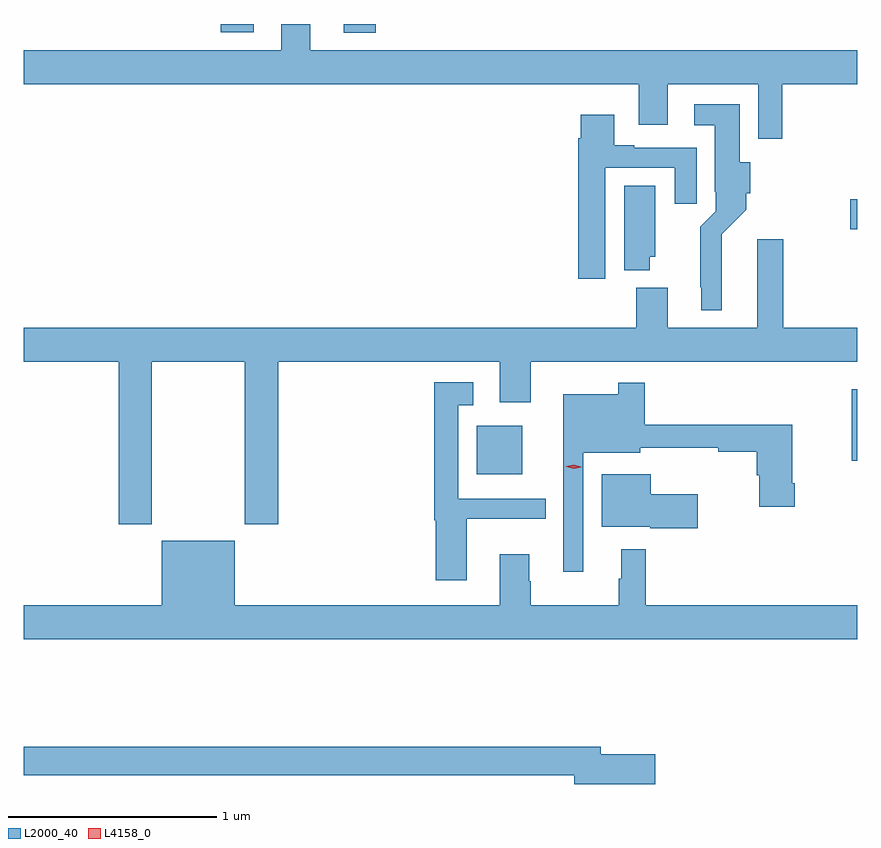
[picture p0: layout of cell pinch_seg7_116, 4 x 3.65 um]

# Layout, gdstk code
import gdstk
lib = gdstk.Library(unit=1e-6, precision=1e-09)
def R(c, l, rs):  # rectangles x0, y0, x1, y1
    for r in rs: c.add(gdstk.rectangle(r[:2], r[2:], *l))
def P(c, l, *ps):  # polygons
    for p in ps: c.add(gdstk.Polygon(p, *l))
L2000_40 = (2000, 40)
L4158_0 = (4158, 0)

pinch_seg7_116 = lib.new_cell('pinch_seg7_116')
R(pinch_seg7_116, L2000_40, [(881.936,1006.736,882.154,1006.969), (883.736,1006.802,883.762,1007.146), (883.728,1007.914,883.762,1008.056), (881.297,1008.857,881.45,1008.898), (880.706,1008.858,880.866,1008.898)])
P(pinch_seg7_116, L2000_40, [(881.137,1008.898),(880.998,1008.898),(880.998,1008.772),(879.762,1008.772),(879.762,1008.608),(882.713,1008.608),(882.713,1008.414),(882.853,1008.414),(882.853,1008.608),(883.287,1008.608),(883.287,1008.348),(883.403,1008.348),(883.403,1008.608),(883.762,1008.608),(883.762,1008.772),(881.137,1008.772)],
  [(883.111,1007.888),(883.229,1008.006),(883.229,1008.086),(883.249,1008.086),(883.249,1008.234),(883.198,1008.234),(883.198,1008.514),(882.981,1008.514),(882.981,1008.413),(883.079,1008.413),(883.079,1008.094),(883.083,1008.094),(883.083,1008),(883.009,1007.926),(883.009,1007.635),(883.013,1007.635),(883.013,1007.525),(883.111,1007.525)],
  [(882.553,1008.207),(882.887,1008.207),(882.887,1008.036),(882.991,1008.036),(882.991,1008.303),(882.691,1008.303),(882.691,1008.316),(882.595,1008.316),(882.595,1008.463),(882.434,1008.463),(882.434,1008.35),(882.422,1008.35),(882.422,1007.676),(882.553,1007.676)],
  [(882.766,1007.781),(882.793,1007.781),(882.793,1008.122),(882.644,1008.122),(882.644,1007.717),(882.766,1007.717)],
  [(880.377,1007.276),(880.822,1007.276),(880.822,1006.497),(880.982,1006.497),(880.982,1007.276),(882.047,1007.276),(882.047,1007.082),(882.196,1007.082),(882.196,1007.276),(883.762,1007.276),(883.762,1007.44),(883.406,1007.44),(883.406,1007.866),(883.283,1007.866),(883.283,1007.44),(882.853,1007.44),(882.853,1007.632),(882.701,1007.632),(882.701,1007.44),(879.762,1007.44),(879.762,1007.276),(880.217,1007.276),(880.217,1006.497),(880.377,1006.497)],
  [(881.887,1006.523),(882.266,1006.523),(882.266,1006.62),(881.847,1006.62),(881.847,1007.069),(881.92,1007.069),(881.92,1007.179),(881.731,1007.179),(881.731,1006.517),(881.738,1006.517),(881.738,1006.227),(881.887,1006.227)],
  [(882.447,1006.841),(882.72,1006.841),(882.72,1006.864),(883.096,1006.864),(883.096,1006.846),(883.28,1006.846),(883.28,1006.731),(883.292,1006.731),(883.292,1006.581),(883.463,1006.581),(883.463,1006.693),(883.45,1006.693),(883.45,1006.975),(882.743,1006.975),(882.743,1007.176),(882.615,1007.176),(882.615,1007.122),(882.35,1007.122),(882.35,1006.745),(882.351,1006.745),(882.351,1006.269),(882.447,1006.269)],
  [(882.997,1006.642),(882.772,1006.642),(882.772,1006.738),(882.536,1006.738),(882.536,1006.484),(882.768,1006.484),(882.768,1006.477),(882.997,1006.477)],
  [(883.762,1006.108),(882.746,1006.108),(882.746,1006.378),(882.629,1006.378),(882.629,1006.235),(882.618,1006.235),(882.618,1006.108),(882.195,1006.108),(882.195,1006.223),(882.187,1006.223),(882.187,1006.354),(882.047,1006.354),(882.047,1006.108),(880.774,1006.108),(880.774,1006.417),(880.424,1006.417),(880.424,1006.108),(879.762,1006.108),(879.762,1005.944),(883.762,1005.944)],
  [(882.793,1005.392),(882.532,1005.392),(882.532,1005.428),(879.762,1005.428),(879.762,1005.292),(882.404,1005.292),(882.404,1005.25),(882.793,1005.25)])
P(pinch_seg7_116, L4158_0, [(882.401,1006.763),(882.366,1006.774),(882.366,1006.775),(882.366,1006.775),(882.402,1006.783),(882.437,1006.772),(882.437,1006.771),(882.437,1006.771)])

lib.write_gds('pinch_seg7_116.gds')
